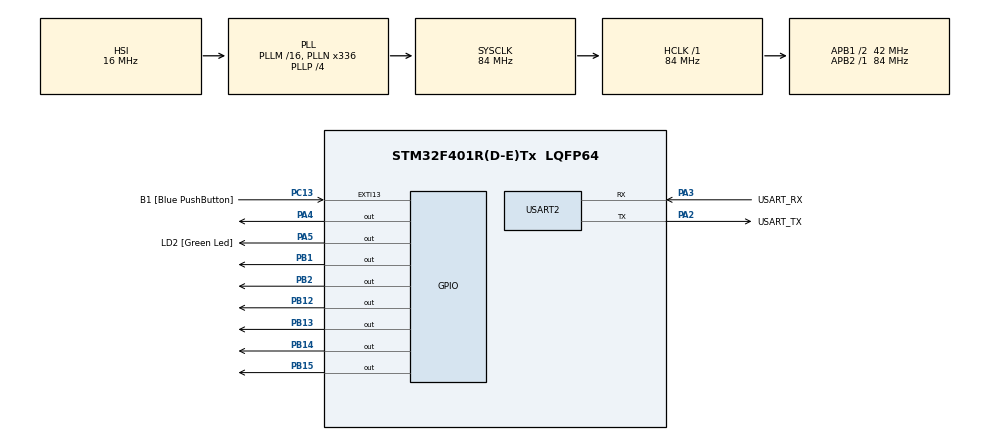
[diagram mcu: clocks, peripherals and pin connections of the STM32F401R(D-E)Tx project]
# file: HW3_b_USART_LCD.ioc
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Mcu.Family=STM32F4
Mcu.Name=STM32F401R(D-E)Tx
Mcu.Package=LQFP64
NVIC.PriorityGroup=NVIC_PRIORITYGROUP_0
PA13.GPIO_Label=TMS
PA13.Mode=Serial_Wire
PA13.Signal=SYS_JTMS-SWDIO
PA14.GPIO_Label=TCK
PA14.Mode=Serial_Wire
PA14.Signal=SYS_JTCK-SWCLK
PA2.GPIO_Label=USART_TX
PA2.GPIO_Mode=GPIO_MODE_AF_PP
PA2.GPIO_PuPd=GPIO_NOPULL
PA2.GPIO_Speed=GPIO_SPEED_FREQ_LOW
PA2.Mode=Asynchronous
PA2.Signal=USART2_TX
PA3.GPIO_Label=USART_RX
PA3.GPIO_Mode=GPIO_MODE_AF_PP
PA3.GPIO_PuPd=GPIO_NOPULL
PA3.GPIO_Speed=GPIO_SPEED_FREQ_LOW
PA3.Mode=Asynchronous
PA3.Signal=USART2_RX
PA4.Signal=GPIO_Output
PA5.GPIO_Label=LD2 [Green Led]
PA5.GPIO_Mode=GPIO_MODE_OUTPUT_PP
PA5.GPIO_PuPd=GPIO_NOPULL
PA5.GPIO_Speed=GPIO_SPEED_FREQ_LOW
PA5.Signal=GPIO_Output
PB1.Signal=GPIO_Output
PB12.Signal=GPIO_Output
PB13.Signal=GPIO_Output
PB14.Signal=GPIO_Output
PB15.Signal=GPIO_Output
PB2.Signal=GPIO_Output
PB3.GPIO_Label=SWO
PB3.Signal=SYS_JTDO-SWO
PC13-ANTI_TAMP.GPIO_Label=B1 [Blue PushButton]
PC13-ANTI_TAMP.GPIO_ModeDefaultEXTI=GPIO_MODE_IT_FALLING
PC13-ANTI_TAMP.GPIO_PuPd=GPIO_NOPULL
PC13-ANTI_TAMP.Signal=GPXTI13
PC14-OSC32_IN.Mode=LSE-External-Oscillator
PC14-OSC32_IN.Signal=RCC_OSC32_IN
PC15-OSC32_OUT.Mode=LSE-External-Oscillator
PC15-OSC32_OUT.Signal=RCC_OSC32_OUT
PH0\ -\ OSC_IN.Mode=HSE-External-Clock-Source
PH0\ -\ OSC_IN.Signal=RCC_OSC_IN
PH1\ -\ OSC_OUT.Mode=HSE-External-Clock-Source
PH1\ -\ OSC_OUT.Signal=RCC_OSC_OUT
ProjectManager.HeapSize=0x200
ProjectManager.StackSize=0x400
ProjectManager.TargetToolchain=STM32CubeIDE
RCC.48MHZClocksFreq_Value=48000000
RCC.AHBFreq_Value=84000000
RCC.APB1CLKDivider=RCC_HCLK_DIV2
RCC.APB1Freq_Value=42000000
RCC.APB1TimFreq_Value=84000000
RCC.APB2Freq_Value=84000000
RCC.APB2TimFreq_Value=84000000
RCC.CortexFreq_Value=84000000
RCC.HCLKFreq_Value=84000000
RCC.HSE_VALUE=8000000
RCC.HSI_VALUE=16000000
RCC.PLLN=336
RCC.PLLP=RCC_PLLP_DIV4
RCC.PLLQ=7
RCC.SYSCLKFreq_VALUE=84000000
RCC.SYSCLKSource=RCC_SYSCLKSOURCE_PLLCLK
RCC.VCOOutputFreq_Value=336000000
USART2.VirtualMode=VM_ASYNC
board=NUCLEO-F401RE

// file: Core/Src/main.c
/* USER CODE BEGIN Header */
/**
  ******************************************************************************
  * @file           : main.c
  * @brief          : Main program body
  ******************************************************************************
  * @attention
  *
  * Copyright (c) 2022 STMicroelectronics.
  * All rights reserved.
  *
  * This software is licensed under terms that can be found in the LICENSE file
  * in the root directory of this software component.
  * If no LICENSE file comes with this software, it is provided AS-IS.
  *
  ******************************************************************************
  */
/* USER CODE END Header */
#include "main.h"

/* USER CODE BEGIN Includes */
#include "PMDB16_LCD.h"
/* USER CODE END Includes */

UART_HandleTypeDef huart2;

void SystemClock_Config(void);
static void MX_GPIO_Init(void);
static void MX_USART2_UART_Init(void);

/* USER CODE BEGIN 0 */
void displayNames(char **names, int size){

	//display first name in the bottom line
	lcd_println(names[0],1);
	HAL_Delay(1000);

	while(1){
		for(int i = 0; i < size; i++){
			if(i != size-1){
				lcd_println(names[i],0);
				lcd_println(names[i+1],1);
			}
			else{
				lcd_println(names[i],0);
				lcd_println(names[0],1);
			}
			HAL_Delay(1000);
		}
	}

}
/* USER CODE END 0 */

int main(void)
{

  /* MCU Configuration--------------------------------------------------------*/

  /* Reset of all peripherals, Initializes the Flash interface and the Systick. */
  HAL_Init();

  /* Configure the system clock */
  SystemClock_Config();

  /* Initialize all configured peripherals */
  MX_GPIO_Init();
  MX_USART2_UART_Init();
  /* USER CODE BEGIN 2 */

  //define the matrix as a vector of string's pointers
  char *toPrint[5];
  //define each string
  toPrint[0] = "Alessio";
  toPrint[1] = "Donato";
  toPrint[2] = "Francesco";
  toPrint[3] = "Gianmarco";
  toPrint[4] = "Lenn";

  //turn on LCD
  lcd_initialize();
  lcd_backlight_ON();

  //show the names
  displayNames(toPrint, 5);

  /* USER CODE END 2 */

  /* Infinite loop */
  while (1)
  {

  }
}

void SystemClock_Config(void)
{
  RCC_OscInitTypeDef RCC_OscInitStruct = {0};
  RCC_ClkInitTypeDef RCC_ClkInitStruct = {0};

  /** Configure the main internal regulator output voltage
  */
  __HAL_RCC_PWR_CLK_ENABLE();
  __HAL_PWR_VOLTAGESCALING_CONFIG(PWR_REGULATOR_VOLTAGE_SCALE2);

  /** Initializes the RCC Oscillators according to the specified parameters
  * in the RCC_OscInitTypeDef structure.
  */
  RCC_OscInitStruct.OscillatorType = RCC_OSCILLATORTYPE_HSI;
  RCC_OscInitStruct.HSIState = RCC_HSI_ON;
  RCC_OscInitStruct.HSICalibrationValue = RCC_HSICALIBRATION_DEFAULT;
  RCC_OscInitStruct.PLL.PLLState = RCC_PLL_ON;
  RCC_OscInitStruct.PLL.PLLSource = RCC_PLLSOURCE_HSI;
  RCC_OscInitStruct.PLL.PLLM = 16;
  RCC_OscInitStruct.PLL.PLLN = 336;
  RCC_OscInitStruct.PLL.PLLP = RCC_PLLP_DIV4;
  RCC_OscInitStruct.PLL.PLLQ = 7;
  if (HAL_RCC_OscConfig(&RCC_OscInitStruct) != HAL_OK)
  {
    Error_Handler();
  }

  /** Initializes the CPU, AHB and APB buses clocks
  */
  RCC_ClkInitStruct.ClockType = RCC_CLOCKTYPE_HCLK|RCC_CLOCKTYPE_SYSCLK
                              |RCC_CLOCKTYPE_PCLK1|RCC_CLOCKTYPE_PCLK2;
  RCC_ClkInitStruct.SYSCLKSource = RCC_SYSCLKSOURCE_PLLCLK;
  RCC_ClkInitStruct.AHBCLKDivider = RCC_SYSCLK_DIV1;
  RCC_ClkInitStruct.APB1CLKDivider = RCC_HCLK_DIV2;
  RCC_ClkInitStruct.APB2CLKDivider = RCC_HCLK_DIV1;

  if (HAL_RCC_ClockConfig(&RCC_ClkInitStruct, FLASH_LATENCY_2) != HAL_OK)
  {
    Error_Handler();
  }
}

static void MX_USART2_UART_Init(void)
{

  huart2.Instance = USART2;
  huart2.Init.BaudRate = 115200;
  huart2.Init.WordLength = UART_WORDLENGTH_8B;
  huart2.Init.StopBits = UART_STOPBITS_1;
  huart2.Init.Parity = UART_PARITY_NONE;
  huart2.Init.Mode = UART_MODE_TX_RX;
  huart2.Init.HwFlowCtl = UART_HWCONTROL_NONE;
  huart2.Init.OverSampling = UART_OVERSAMPLING_16;
  if (HAL_UART_Init(&huart2) != HAL_OK)
  {
    Error_Handler();
  }

}

static void MX_GPIO_Init(void)
{
  GPIO_InitTypeDef GPIO_InitStruct = {0};

  /* GPIO Ports Clock Enable */
  __HAL_RCC_GPIOC_CLK_ENABLE();
  __HAL_RCC_GPIOH_CLK_ENABLE();
  __HAL_RCC_GPIOA_CLK_ENABLE();
  __HAL_RCC_GPIOB_CLK_ENABLE();

  /*Configure GPIO pin Output Level */
  HAL_GPIO_WritePin(GPIOA, GPIO_PIN_4|LD2_Pin, GPIO_PIN_RESET);

  /*Configure GPIO pin Output Level */
  HAL_GPIO_WritePin(GPIOB, GPIO_PIN_1|GPIO_PIN_2|GPIO_PIN_12|GPIO_PIN_13
                          |GPIO_PIN_14|GPIO_PIN_15, GPIO_PIN_RESET);

  /*Configure GPIO pin : B1_Pin */
  GPIO_InitStruct.Pin = B1_Pin;
  GPIO_InitStruct.Mode = GPIO_MODE_IT_FALLING;
  GPIO_InitStruct.Pull = GPIO_NOPULL;
  HAL_GPIO_Init(B1_GPIO_Port, &GPIO_InitStruct);

  /*Configure GPIO pins : PA4 LD2_Pin */
  GPIO_InitStruct.Pin = GPIO_PIN_4|LD2_Pin;
  GPIO_InitStruct.Mode = GPIO_MODE_OUTPUT_PP;
  GPIO_InitStruct.Pull = GPIO_NOPULL;
  GPIO_InitStruct.Speed = GPIO_SPEED_FREQ_LOW;
  HAL_GPIO_Init(GPIOA, &GPIO_InitStruct);

  /*Configure GPIO pins : PB1 PB2 PB12 PB13
                           PB14 PB15 */
  GPIO_InitStruct.Pin = GPIO_PIN_1|GPIO_PIN_2|GPIO_PIN_12|GPIO_PIN_13
                          |GPIO_PIN_14|GPIO_PIN_15;
  GPIO_InitStruct.Mode = GPIO_MODE_OUTPUT_PP;
  GPIO_InitStruct.Pull = GPIO_NOPULL;
  GPIO_InitStruct.Speed = GPIO_SPEED_FREQ_LOW;
  HAL_GPIO_Init(GPIOB, &GPIO_InitStruct);

}

void Error_Handler(void)
{
  __disable_irq();
  while (1)
  {
  }
}
